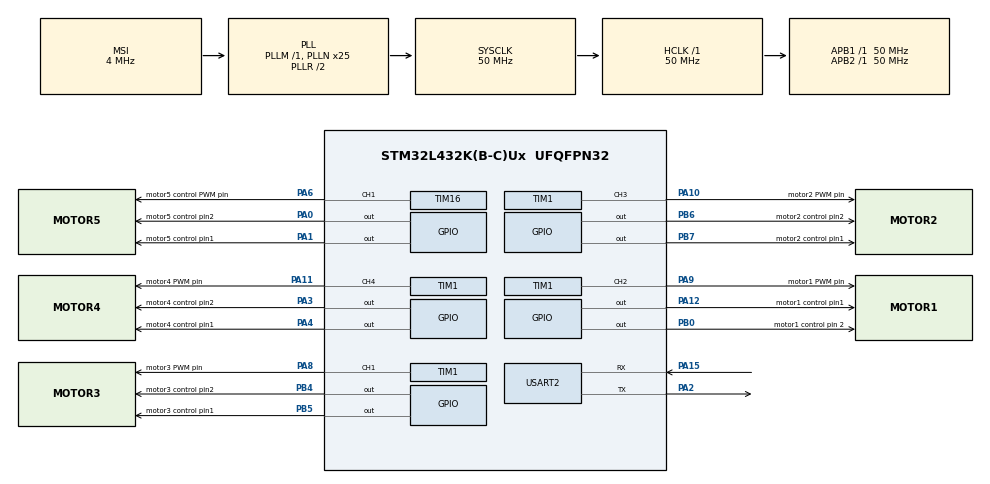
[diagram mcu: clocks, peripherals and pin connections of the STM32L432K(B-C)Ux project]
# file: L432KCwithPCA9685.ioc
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Mcu.Family=STM32L4
Mcu.Name=STM32L432K(B-C)Ux
Mcu.Package=UFQFPN32
NVIC.PriorityGroup=NVIC_PRIORITYGROUP_4
NVIC.USART2_IRQn=true\:0\:0\:false\:false\:true\:true\:true\:true
PA0.GPIO_Label=motor5 control pin2
PA0.GPIO_Speed=GPIO_SPEED_FREQ_HIGH
PA0.PinState=GPIO_PIN_RESET
PA0.Signal=GPIO_Output
PA1.GPIO_Label=motor5 control pin1
PA1.GPIO_Speed=GPIO_SPEED_FREQ_HIGH
PA1.Signal=GPIO_Output
PA10.GPIO_Label=motor2 PWM pin
PA10.Signal=S_TIM1_CH3
PA11.GPIO_Label=motor4 PWM pin
PA11.Signal=S_TIM1_CH4
PA12.GPIO_Label=motor1 control pin1
PA12.GPIO_Speed=GPIO_SPEED_FREQ_HIGH
PA12.PinState=GPIO_PIN_RESET
PA12.Signal=GPIO_Output
PA15\ (JTDI).Mode=Asynchronous
PA15\ (JTDI).Signal=USART2_RX
PA2.Mode=Asynchronous
PA2.Signal=USART2_TX
PA3.GPIO_Label=motor4 control pin2
PA3.GPIO_Speed=GPIO_SPEED_FREQ_HIGH
PA3.Signal=GPIO_Output
PA4.GPIO_Label=motor4 control pin1
PA4.GPIO_Speed=GPIO_SPEED_FREQ_HIGH
PA4.Signal=GPIO_Output
PA6.GPIO_Label=motor5 control PWM pin
PA6.Signal=S_TIM16_CH1
PA8.GPIO_Label=motor3 PWM pin
PA8.Signal=S_TIM1_CH1
PA9.GPIO_Label=motor1 PWM pin
PA9.Signal=S_TIM1_CH2
PB0.GPIO_Label=motor1 control pin 2
PB0.GPIO_Speed=GPIO_SPEED_FREQ_HIGH
PB0.PinState=GPIO_PIN_RESET
PB0.Signal=GPIO_Output
PB4\ (NJTRST).GPIO_Label=motor3 control pin2
PB4\ (NJTRST).GPIO_Speed=GPIO_SPEED_FREQ_HIGH
PB4\ (NJTRST).Signal=GPIO_Output
PB5.GPIO_Label=motor3 control pin1
PB5.GPIO_Speed=GPIO_SPEED_FREQ_HIGH
PB5.Signal=GPIO_Output
PB6.GPIO_FM6=__NULL
PB6.GPIO_Label=motor2 control pin2
PB6.GPIO_Speed=GPIO_SPEED_FREQ_HIGH
PB6.Signal=GPIO_Output
PB7.GPIO_Label=motor2 control pin1
PB7.GPIO_Speed=GPIO_SPEED_FREQ_HIGH
PB7.Signal=GPIO_Output
ProjectManager.HeapSize=0x200
ProjectManager.StackSize=0x400
ProjectManager.TargetToolchain=STM32CubeIDE
RCC.AHBFreq_Value=50000000
RCC.APB1Freq_Value=50000000
RCC.APB1TimFreq_Value=50000000
RCC.APB2Freq_Value=50000000
RCC.APB2TimFreq_Value=50000000
RCC.CortexFreq_Value=50000000
RCC.HCLKFreq_Value=50000000
RCC.HSE_VALUE=8000000
RCC.HSI16_VALUE=16000000
RCC.HSI48_VALUE=48000000
RCC.HSI_VALUE=16000000
RCC.LSE_VALUE=32768
RCC.MSI_VALUE=4000000
RCC.PLLMUL=RCC_PLLMUL_4
RCC.PLLN=25
RCC.SYSCLKFreq_VALUE=50000000
RCC.SYSCLKSource=RCC_SYSCLKSOURCE_PLLCLK
RCC.VCOOutputFreq_Value=100000000
SH.S_TIM16_CH1.0=TIM16_CH1,PWM Generation1 CH1
SH.S_TIM1_CH1.0=TIM1_CH1,PWM Generation1 CH1
SH.S_TIM1_CH2.0=TIM1_CH2,PWM Generation2 CH2
SH.S_TIM1_CH3.0=TIM1_CH3,PWM Generation3 CH3
SH.S_TIM1_CH4.0=TIM1_CH4,PWM Generation4 CH4
TIM1.Channel-PWM\ Generation1\ CH1=TIM_CHANNEL_1
TIM1.Channel-PWM\ Generation2\ CH2=TIM_CHANNEL_2
TIM1.Channel-PWM\ Generation3\ CH3=TIM_CHANNEL_3
TIM1.Channel-PWM\ Generation4\ CH4=TIM_CHANNEL_4
TIM1.Period=2000
TIM1.Prescaler=4999
TIM16.Channel=TIM_CHANNEL_1
TIM16.Period=1999
TIM16.Prescaler=4999
USART2.VirtualMode-Asynchronous=VM_ASYNC
VP_TIM16_VS_ClockSourceINT.Mode=Enable_Timer
VP_TIM1_VS_ClockSourceINT.Mode=Internal
board=NUCLEO-L432KC

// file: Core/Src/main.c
/* USER CODE BEGIN Header */
/**
  ******************************************************************************
  * @file           : main.c
  * @brief          : Main program body
  ******************************************************************************
  * @attention
  *
  * Copyright (c) 2024 STMicroelectronics.
  * All rights reserved.
  *
  * This software is licensed under terms that can be found in the LICENSE file
  * in the root directory of this software component.
  * If no LICENSE file comes with this software, it is provided AS-IS.
  *
  ******************************************************************************
  */
/* USER CODE END Header */
#include "main.h"
#include "tim.h"
#include "usart.h"
#include "gpio.h"

/* USER CODE BEGIN Includes */
#include "L293D_MotorControl.h"
#include "USART_DataCatch.h"

#include <stdio.h>
#include <stdlib.h>

/* USER CODE END Includes */

/* USER CODE BEGIN PD */
#define MAX_VLOT 12
#define MAX_CCR 2000
/* USER CODE END PD */

void SystemClock_Config(void);
/* USER CODE BEGIN PFP */
#ifdef __GNUC__
#define PUTCHAR_PROTOTYPE int __io_putchar(int ch)
#else
#define PUTCHAR_PROTOTYPE int fputc(int ch, FILE *f)
#endif

PUTCHAR_PROTOTYPE
{
	HAL_UART_Transmit(&huart2, (uint8_t *)&ch, 1, HAL_MAX_DELAY);
return ch;
}

char Rxbuffer[10];
/* USER CODE END PFP */

int main(void)
{

  /* MCU Configuration--------------------------------------------------------*/

  /* Reset of all peripherals, Initializes the Flash interface and the Systick. */
  HAL_Init();

  /* Configure the system clock */
  SystemClock_Config();

  /* Initialize all configured peripherals */
  MX_GPIO_Init();
  MX_TIM1_Init();
  MX_TIM16_Init();
  MX_USART2_UART_Init();
  /* USER CODE BEGIN 2 */
  HAL_TIM_Base_Start_IT(&htim1);
  HAL_TIM_Base_Start_IT(&htim16);

  HAL_TIM_PWM_Start_IT(&htim1, TIM_CHANNEL_1);
  HAL_TIM_PWM_Start_IT(&htim1, TIM_CHANNEL_2);
  HAL_TIM_PWM_Start_IT(&htim1, TIM_CHANNEL_3);
  HAL_TIM_PWM_Start_IT(&htim1, TIM_CHANNEL_4);
  HAL_TIM_PWM_Start_IT(&htim16, TIM_CHANNEL_1);

  MOTOR motor1 = {htim1, TIM_CHANNEL_2, GPIOA, GPIO_PIN_12, GPIOB, GPIO_PIN_0};//PWM = PA9,GPIO_1 = PA12, GPIO_0 = PB0
  MOTOR motor2 = {htim1, TIM_CHANNEL_3, GPIOB, GPIO_PIN_7, GPIOB, GPIO_PIN_6};//PWM = PA10,GPIO_1 = PB7, GPIO_0 = PB6
  MOTOR motor3 = {htim1, TIM_CHANNEL_1, GPIOB, GPIO_PIN_5, GPIOB, GPIO_PIN_4};//PWM = PA8,GPIO_1 = PB5, GPIO_0 = PB4
  MOTOR motor4 = {htim1, TIM_CHANNEL_4, GPIOA, GPIO_PIN_4, GPIOA, GPIO_PIN_3};//PWM = PA11,GPIO_1 = PB7, GPIO_0 = PB6
  MOTOR motor5 = {htim16, TIM_CHANNEL_1, GPIOA, GPIO_PIN_1, GPIOA, GPIO_PIN_0};//PWM = PA6,GPIO_1 = PB7, GPIO_0 = PB6
  MOTOR motors[] = { motor1, motor2, motor3, motor4, motor5 };

  double volt_value, CCR_value = 0;
  int finger_index = 0;

  /* USER CODE END 2 */

  /* Infinite loop */
  /* USER CODE BEGIN WHILE */
  while (1)
  {
	  HAL_UART_Receive_IT(&huart2, (uint8_t *)&Rxbuffer, sizeof(Rxbuffer));

	  parseTwoValues(Rxbuffer, &finger_index, &volt_value);

	  CCR_value = Volt_CCR_Transfer(MAX_CCR, MAX_VLOT, volt_value);
	  printf("CCR_value: %.2lf\n", CCR_value);

	  MOTOR_Run(motors[finger_index] , CCR_value, finger_index);
	  printf("Motor %d: volt value: %.2lf\n", finger_index, volt_value);
	  HAL_Delay(250);

    /* USER CODE END WHILE */

  }
}

void SystemClock_Config(void)
{
  RCC_OscInitTypeDef RCC_OscInitStruct = {0};
  RCC_ClkInitTypeDef RCC_ClkInitStruct = {0};

  /** Configure the main internal regulator output voltage
  */
  if (HAL_PWREx_ControlVoltageScaling(PWR_REGULATOR_VOLTAGE_SCALE1) != HAL_OK)
  {
    Error_Handler();
  }

  /** Initializes the RCC Oscillators according to the specified parameters
  * in the RCC_OscInitTypeDef structure.
  */
  RCC_OscInitStruct.OscillatorType = RCC_OSCILLATORTYPE_MSI;
  RCC_OscInitStruct.MSIState = RCC_MSI_ON;
  RCC_OscInitStruct.MSICalibrationValue = 0;
  RCC_OscInitStruct.MSIClockRange = RCC_MSIRANGE_6;
  RCC_OscInitStruct.PLL.PLLState = RCC_PLL_ON;
  RCC_OscInitStruct.PLL.PLLSource = RCC_PLLSOURCE_MSI;
  RCC_OscInitStruct.PLL.PLLM = 1;
  RCC_OscInitStruct.PLL.PLLN = 25;
  RCC_OscInitStruct.PLL.PLLP = RCC_PLLP_DIV7;
  RCC_OscInitStruct.PLL.PLLQ = RCC_PLLQ_DIV2;
  RCC_OscInitStruct.PLL.PLLR = RCC_PLLR_DIV2;
  if (HAL_RCC_OscConfig(&RCC_OscInitStruct) != HAL_OK)
  {
    Error_Handler();
  }

  /** Initializes the CPU, AHB and APB buses clocks
  */
  RCC_ClkInitStruct.ClockType = RCC_CLOCKTYPE_HCLK|RCC_CLOCKTYPE_SYSCLK
                              |RCC_CLOCKTYPE_PCLK1|RCC_CLOCKTYPE_PCLK2;
  RCC_ClkInitStruct.SYSCLKSource = RCC_SYSCLKSOURCE_PLLCLK;
  RCC_ClkInitStruct.AHBCLKDivider = RCC_SYSCLK_DIV1;
  RCC_ClkInitStruct.APB1CLKDivider = RCC_HCLK_DIV1;
  RCC_ClkInitStruct.APB2CLKDivider = RCC_HCLK_DIV1;

  if (HAL_RCC_ClockConfig(&RCC_ClkInitStruct, FLASH_LATENCY_3) != HAL_OK)
  {
    Error_Handler();
  }
}

void Error_Handler(void)
{
  __disable_irq();
  while (1)
  {
  }
}
